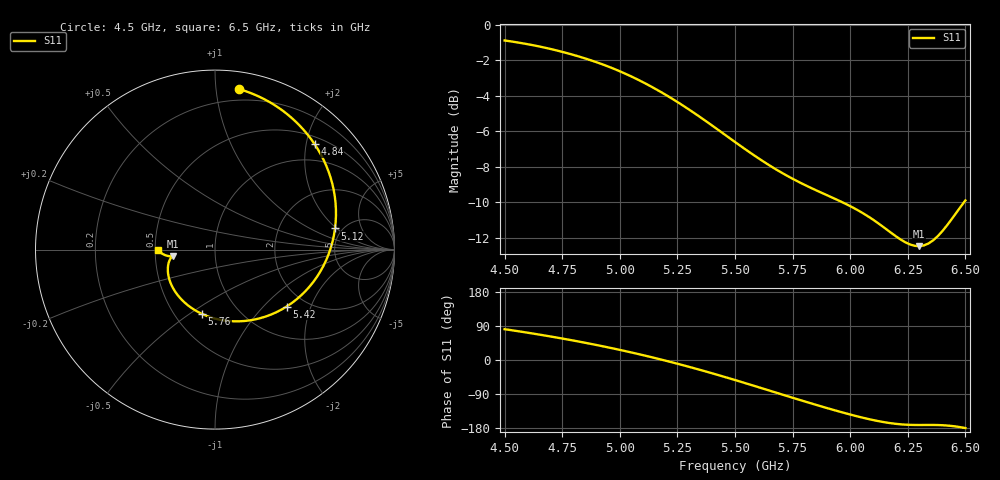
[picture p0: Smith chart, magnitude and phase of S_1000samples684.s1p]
! TOUCHSTONE file generated by CST MICROWAVE STUDIO
! Date and time: Sat Oct 29 00:46:14 2022
! Project name: L.cst
! Parameters = {Di=1.27; Epsilon_r=1.56; InnerDiameter=1.27; Length=2; Lf=10; Lg=60; OuterConductorThickness=0.2921; OuterDiameter=3.6; Wf=3; Wp=41.2; de=1.5; df=6.8; g=0.8; gx=3.29174; gy=2.70805; h=2.34; hf=1.524; px=13.3472; py=10.7485; w=9.7; wx=10.0555; wy=8.04048}
! Header version: 2018
! Port assignment regex: !\s*Touchstone port\s*([0-9]+)\s*=\s*(CST MWS port|CST DS port)\s*([0-9]+|Zmin|Zmax)\s*\(\"(.*)\"\)(\s*mode\s*([0-9]+))?.*
! Touchstone port assignment:
! Touchstone port 1 = CST MWS port 1 ("")
# GHz S DB R 50
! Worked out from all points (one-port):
!   101 points, 4.5 GHz to 6.5 GHz, reference 50 ohm
!   lowest |S11| = -12.5 dB at 6.3 GHz (marker M1), VSWR 1.62, Z = 30.9 - j2.29 ohm
!   |S11| at or under -10 dB: 5.966 GHz to 6.494 GHz (527.7 MHz wide, 8.47 % of centre)
!   S11 on the Smith chart (normalised r, x): 4.5 GHz: 0.12, +1.16; 4.84 GHz: 0.64, +2.17; 5.12 GHz: 4.36, +1.91; 5.42 GHz: 1.60, -1.37; 5.76 GHz: 0.68, -0.56; 6.5 GHz: 0.52, -0.00
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4.5  -0.88 81.3
4.58  -1.04 73.9
4.64  -1.19 68.1
4.76  -1.55 55.6
4.84  -1.85 46.6
4.92  -2.20 37.0
5  -2.61 26.7
5.06  -2.97 18.5
5.12  -3.36 10.0
5.18  -3.79 1.1
5.26  -4.43 -11.4
5.34  -5.12 -24.6
5.42  -5.85 -38.5
5.5  -6.60 -52.9
5.56  -7.15 -63.9
5.62  -7.67 -75.1
5.68  -8.16 -86.4
5.76  -8.74 -101.5
5.88  -9.49 -123.4
6  -10.22 -143.9
6.06  -10.65 -153.1
6.14  -11.36 -163.3
6.2  -11.93 -168.6
6.26  -12.38 -171.2
6.3  -12.47 -171.5
6.38  -11.91 -171.6
6.44  -10.96 -174.1
6.5  -9.89 -179.6
